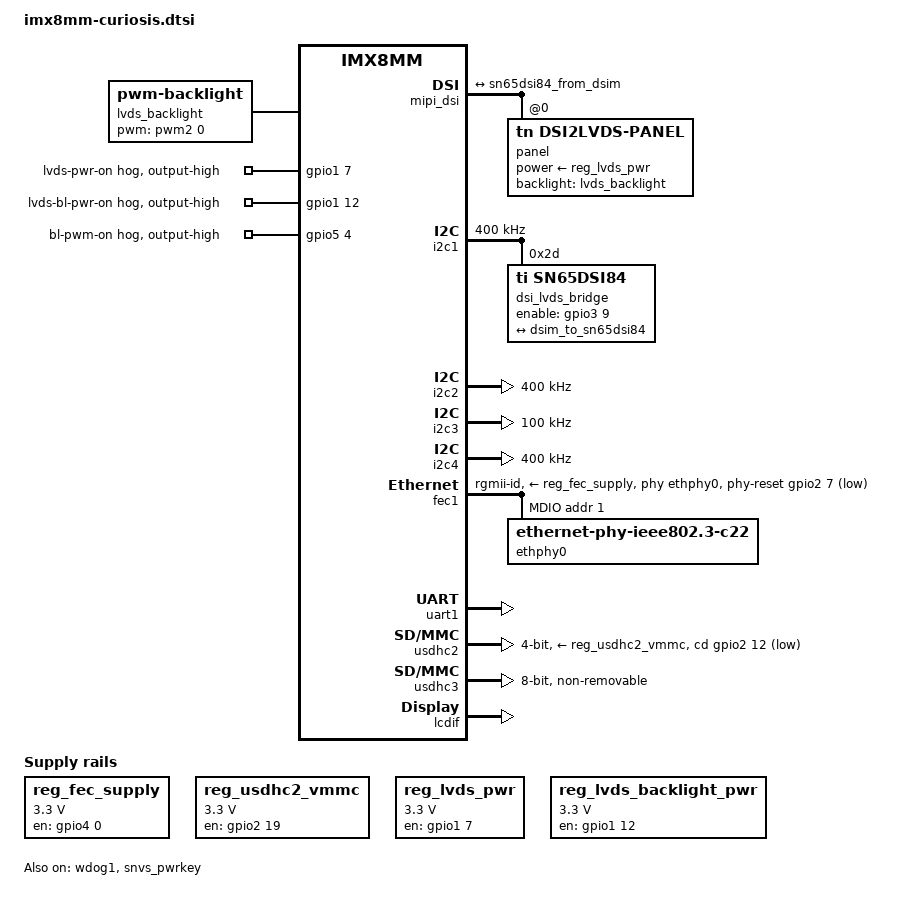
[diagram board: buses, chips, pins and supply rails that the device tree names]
/*
 * Copyright 2020 Technexion Ltd.
 *
 * Author: Richard <richard.hu@technexion.com>
 *
 * This program is free software; you can redistribute it and/or
 * modify it under the terms of the GNU General Public License
 * as published by the Free Software Foundation; either version 2
 * of the License, or (at your option) any later version.
 *
 * This program is distributed in the hope that it will be useful,
 * but WITHOUT ANY WARRANTY; without even the implied warranty of
 * MERCHANTABILITY or FITNESS FOR A PARTICULAR PURPOSE.  See the
 * GNU General Public License for more details.
 */

/dts-v1/;

#include "imx8mm.dtsi"

/ {
	chosen {
		bootargs = "console=ttymxc0,115200 earlycon=ec_imx6q,0x30860000,115200";
		stdout-patch = &uart1;
	};

	regulators {
		compatible = "simple-bus";
		#address-cells = <1>;
		#size-cells = <0>;

		reg_fec_supply: regulator_fecpwr {
			compatible = "regulator-fixed";
			pinctrl-names = "default";
			pinctrl-0 = <&pinctrl_fec_pwr_en>;
			regulator-name = "ENET_PWR_EN";
			regulator-min-microvolt = <3300000>;
			regulator-max-microvolt = <3300000>;
			gpio = <&gpio4 0 GPIO_ACTIVE_HIGH>;
			startup-delay-us = <10000>;
			enable-active-high;
		};

		reg_usdhc2_vmmc: regulator-usdhc2 {
			pinctrl-names = "default";
			pinctrl-0 = <&pinctrl_usdhc2_gpio>;
			compatible = "regulator-fixed";
			regulator-name = "SD_3V3";
			regulator-min-microvolt = <3300000>;
			regulator-max-microvolt = <3300000>;
			gpio = <&gpio2 19 GPIO_ACTIVE_HIGH>;
			off-on-delay = <20000>;
			enable-active-high;
		};
		
		

		reg_lvds_pwr: regulator_lvdspwr {
			pinctrl-names = "default";
			pinctrl-0 = <&pinctrl_lvds0_pwr>;
			compatible = "regulator-fixed";
			regulator-name = "lvds0_vdden";
			regulator-min-microvolt = <3300000>;
			regulator-max-microvolt = <3300000>;
			gpio = <&gpio1 7 GPIO_ACTIVE_HIGH>;
			enable-active-high;
			status = "okay";
		};

		reg_lvds_backlight_pwr: regulator_lvdsblpwr {
			pinctrl-names = "default";
			pinctrl-0 = <&pinctrl_lvds0_backlight_pwr>;
			compatible = "regulator-fixed";
			regulator-name = "lvds0_bl_en";
			regulator-min-microvolt = <3300000>;
			regulator-max-microvolt = <3300000>;
			gpio = <&gpio1 12 GPIO_ACTIVE_HIGH>;
			enable-active-high;
			regulator-always-on;
		};
	};
	
	
	lvds_backlight: lvds_backlight {
		compatible = "pwm-backlight";
		pwms = <&pwm2 0 50000>;
		brightness-levels = <0 36 72 108 144 180 216 255>;
		default-brightness-level = <6>;
		status = "okay";
	};

	dsi_host: dsi-host {
		compatible = "samsung,sec-mipi-dsi";
		status = "okay";
	};
};


&mipi_dsi {
	status = "okay";
	#address-cells = <1>;
	#size-cells = <0>;
	panel@0 {
		reg = <0>;
		compatible = "tn,dsi2lvds-panel";
		backlight = <&lvds_backlight>;
		power-supply = <&reg_lvds_pwr>;

		dsi,flags = <0x0007>;
		dsi,format = <0>;
		dsi,lanes = <4>;
		panel-width-mm  = <217>;
		panel-height-mm = <135>;
		bus-format = <0x100a>;	/* MEDIA_BUS_FMT_RGB888_1X24 */
		bus-flags = <1>;
		refresh-rate = <60>;
		rotate = <0>;
		/* horz-flip; */
		/* vert-flip; */

		panel-timing {
			clock-frequency = <69500000>;
			hactive = <1280>;
			vactive = <800>;
			hfront-porch = <40>;
			hsync-len = <80>;
			hback-porch = <40>;
			vfront-porch = <3>;
			vsync-len = <10>;
			vback-porch = <10>;
			/* flags = DISPLAY_FLAGS_HSYNC_HIGH | DISPLAY_FLAGS_VSYNC_HIGH */
			vsync-active = <1>;
			hsync-active = <1>;
		};
	};
};

&iomuxc {
	pinctrl-names = "default";
	pinctrl-0 = <&pinctrl_hog_1>;

	imx8mm-edm-g {
		pinctrl_hog_1: hoggrp-1 {
			fsl,pins = <
				MX8MM_IOMUXC_GPIO1_IO08_GPIO1_IO8		0x19
			>;
		};

		pinctrl_fec_pwr_en: fec_pwr_en_irqgrp {
			fsl,pins = <
				MX8MM_IOMUXC_SAI1_RXFS_GPIO4_IO0   0x19
			>;
		};

		pinctrl_fec1: fec1grp {
			fsl,pins = <
				MX8MM_IOMUXC_ENET_MDC_ENET1_MDC				0x3
				MX8MM_IOMUXC_ENET_MDIO_ENET1_MDIO			0x3
				MX8MM_IOMUXC_ENET_TD3_ENET1_RGMII_TD3		0x1f
				MX8MM_IOMUXC_ENET_TD2_ENET1_RGMII_TD2		0x1f
				MX8MM_IOMUXC_ENET_TD1_ENET1_RGMII_TD1		0x1f
				MX8MM_IOMUXC_ENET_TD0_ENET1_RGMII_TD0		0x1f
				MX8MM_IOMUXC_ENET_RD3_ENET1_RGMII_RD3		0x91
				MX8MM_IOMUXC_ENET_RD2_ENET1_RGMII_RD2		0x91
				MX8MM_IOMUXC_ENET_RD1_ENET1_RGMII_RD1		0x91
				MX8MM_IOMUXC_ENET_RD0_ENET1_RGMII_RD0		0x91
				MX8MM_IOMUXC_ENET_TXC_ENET1_RGMII_TXC		0x1f
				MX8MM_IOMUXC_ENET_RXC_ENET1_RGMII_RXC		0x91
				MX8MM_IOMUXC_ENET_RX_CTL_ENET1_RGMII_RX_CTL	0x91
				MX8MM_IOMUXC_ENET_TX_CTL_ENET1_RGMII_TX_CTL	0x1f
				MX8MM_IOMUXC_SD1_DATA5_GPIO2_IO7	0x36	/* ENET_nRST */
			>;
		};

		pinctrl_i2c1: i2c1grp {
			fsl,pins = <
				MX8MM_IOMUXC_I2C1_SCL_I2C1_SCL			0x400001c3
				MX8MM_IOMUXC_I2C1_SDA_I2C1_SDA			0x400001c3
			>;
		};

		pinctrl_i2c2: i2c2grp {
			fsl,pins = <
				MX8MM_IOMUXC_I2C2_SCL_I2C2_SCL			0x400001c3
				MX8MM_IOMUXC_I2C2_SDA_I2C2_SDA			0x400001c3
			>;
		};

		pinctrl_i2c3: i2c3grp {
			fsl,pins = <
				MX8MM_IOMUXC_I2C3_SCL_I2C3_SCL			0x400001c3
				MX8MM_IOMUXC_I2C3_SDA_I2C3_SDA			0x400001c3
			>;
		};

		pinctrl_i2c4: i2c4grp {
			fsl,pins = <
				MX8MM_IOMUXC_I2C4_SCL_I2C4_SCL			0x400001c3
				MX8MM_IOMUXC_I2C4_SDA_I2C4_SDA			0x400001c3
			>;
		};

		pinctrl_pmic: pmicirq {
			fsl,pins = <
				MX8MM_IOMUXC_GPIO1_IO03_GPIO1_IO3		0x41
			>;
		};

		pinctrl_uart1: uart1grp {
			fsl,pins = <
				MX8MM_IOMUXC_SAI2_RXFS_UART1_DCE_TX	0x140
				MX8MM_IOMUXC_SAI2_RXC_UART1_DCE_RX	0x140
			>;
		};

		pinctrl_usdhc1: usdhc1grp {
			fsl,pins = <
				MX8MM_IOMUXC_SD1_CLK_USDHC1_CLK		0x190
				MX8MM_IOMUXC_SD1_CMD_USDHC1_CMD		0x1d0
				MX8MM_IOMUXC_SD1_DATA0_USDHC1_DATA0	0x1d0
				MX8MM_IOMUXC_SD1_DATA1_USDHC1_DATA1	0x1d0
				MX8MM_IOMUXC_SD1_DATA2_USDHC1_DATA2	0x1d0
				MX8MM_IOMUXC_SD1_DATA3_USDHC1_DATA3	0x1d0
				MX8MM_IOMUXC_SD1_STROBE_USDHC1_STROBE 0x190
			>;
		};

		pinctrl_usdhc1_100mhz: usdhc1grp100mhz {
			fsl,pins = <
				MX8MM_IOMUXC_SD1_CLK_USDHC1_CLK		0x194
				MX8MM_IOMUXC_SD1_CMD_USDHC1_CMD		0x1d4
				MX8MM_IOMUXC_SD1_DATA0_USDHC1_DATA0	0x1d4
				MX8MM_IOMUXC_SD1_DATA1_USDHC1_DATA1	0x1d4
				MX8MM_IOMUXC_SD1_DATA2_USDHC1_DATA2	0x1d4
				MX8MM_IOMUXC_SD1_DATA3_USDHC1_DATA3	0x1d4
				MX8MM_IOMUXC_SD1_STROBE_USDHC1_STROBE 0x194
			>;
		};

		pinctrl_usdhc1_200mhz: usdhc1grp200mhz {
			fsl,pins = <
				MX8MM_IOMUXC_SD1_CLK_USDHC1_CLK		0x196
				MX8MM_IOMUXC_SD1_CMD_USDHC1_CMD		0x1d6
				MX8MM_IOMUXC_SD1_DATA0_USDHC1_DATA0	0x1d6
				MX8MM_IOMUXC_SD1_DATA1_USDHC1_DATA1	0x1d6
				MX8MM_IOMUXC_SD1_DATA2_USDHC1_DATA2	0x1d6
				MX8MM_IOMUXC_SD1_DATA3_USDHC1_DATA3	0x1d6
				MX8MM_IOMUXC_SD1_STROBE_USDHC1_STROBE 0x196
			>;
		};

		pinctrl_usdhc2_gpio: usdhc2grpgpio {
			fsl,pins = <
				MX8MM_IOMUXC_SD2_CD_B_GPIO2_IO12	0x1c4
				MX8MM_IOMUXC_SD2_RESET_B_GPIO2_IO19	0x41
			>;
		};

		pinctrl_usdhc2: usdhc2grp {
			fsl,pins = <
				MX8MM_IOMUXC_SD2_CLK_USDHC2_CLK		0x190
				MX8MM_IOMUXC_SD2_CMD_USDHC2_CMD		0x1d0
				MX8MM_IOMUXC_SD2_DATA0_USDHC2_DATA0	0x1d0
				MX8MM_IOMUXC_SD2_DATA1_USDHC2_DATA1	0x1d0
				MX8MM_IOMUXC_SD2_DATA2_USDHC2_DATA2	0x1d0
				MX8MM_IOMUXC_SD2_DATA3_USDHC2_DATA3	0x1d0
				MX8MM_IOMUXC_GPIO1_IO04_USDHC2_VSELECT	0x1d0
			>;
		};

		pinctrl_usdhc2_100mhz: usdhc2grp100mhz {
			fsl,pins = <
				MX8MM_IOMUXC_SD2_CLK_USDHC2_CLK		0x194
				MX8MM_IOMUXC_SD2_CMD_USDHC2_CMD		0x1d4
				MX8MM_IOMUXC_SD2_DATA0_USDHC2_DATA0	0x1d4
				MX8MM_IOMUXC_SD2_DATA1_USDHC2_DATA1	0x1d4
				MX8MM_IOMUXC_SD2_DATA2_USDHC2_DATA2	0x1d4
				MX8MM_IOMUXC_SD2_DATA3_USDHC2_DATA3	0x1d4
				MX8MM_IOMUXC_GPIO1_IO04_USDHC2_VSELECT	0x1d0
			>;
		};

		pinctrl_usdhc2_200mhz: usdhc2grp200mhz {
			fsl,pins = <
				MX8MM_IOMUXC_SD2_CLK_USDHC2_CLK		0x196
				MX8MM_IOMUXC_SD2_CMD_USDHC2_CMD		0x1d6
				MX8MM_IOMUXC_SD2_DATA0_USDHC2_DATA0	0x1d6
				MX8MM_IOMUXC_SD2_DATA1_USDHC2_DATA1	0x1d6
				MX8MM_IOMUXC_SD2_DATA2_USDHC2_DATA2	0x1d6
				MX8MM_IOMUXC_SD2_DATA3_USDHC2_DATA3	0x1d6
				MX8MM_IOMUXC_GPIO1_IO04_USDHC2_VSELECT	0x1d0
			>;
		};

		pinctrl_usdhc3: usdhc3grp {
			fsl,pins = <
				MX8MM_IOMUXC_NAND_WE_B_USDHC3_CLK		0x40000190
				MX8MM_IOMUXC_NAND_WP_B_USDHC3_CMD		0x1d0
				MX8MM_IOMUXC_NAND_DATA04_USDHC3_DATA0		0x1d0
				MX8MM_IOMUXC_NAND_DATA05_USDHC3_DATA1		0x1d0
				MX8MM_IOMUXC_NAND_DATA06_USDHC3_DATA2		0x1d0
				MX8MM_IOMUXC_NAND_DATA07_USDHC3_DATA3		0x1d0
				MX8MM_IOMUXC_NAND_RE_B_USDHC3_DATA4		0x1d0
				MX8MM_IOMUXC_NAND_CE2_B_USDHC3_DATA5		0x1d0
				MX8MM_IOMUXC_NAND_CE3_B_USDHC3_DATA6		0x1d0
				MX8MM_IOMUXC_NAND_CLE_USDHC3_DATA7		0x1d0
				MX8MM_IOMUXC_NAND_CE1_B_USDHC3_STROBE 		0x190
			>;
		};

		pinctrl_usdhc3_100mhz: usdhc3grp100mhz {
			fsl,pins = <
				MX8MM_IOMUXC_NAND_WE_B_USDHC3_CLK		0x40000194
				MX8MM_IOMUXC_NAND_WP_B_USDHC3_CMD		0x1d4
				MX8MM_IOMUXC_NAND_DATA04_USDHC3_DATA0		0x1d4
				MX8MM_IOMUXC_NAND_DATA05_USDHC3_DATA1		0x1d4
				MX8MM_IOMUXC_NAND_DATA06_USDHC3_DATA2		0x1d4
				MX8MM_IOMUXC_NAND_DATA07_USDHC3_DATA3		0x1d4
				MX8MM_IOMUXC_NAND_RE_B_USDHC3_DATA4		0x1d4
				MX8MM_IOMUXC_NAND_CE2_B_USDHC3_DATA5		0x1d4
				MX8MM_IOMUXC_NAND_CE3_B_USDHC3_DATA6		0x1d4
				MX8MM_IOMUXC_NAND_CLE_USDHC3_DATA7		0x1d4
				MX8MM_IOMUXC_NAND_CE1_B_USDHC3_STROBE 		0x194
			>;
		};

		pinctrl_usdhc3_200mhz: usdhc3grp200mhz {
			fsl,pins = <
				MX8MM_IOMUXC_NAND_WE_B_USDHC3_CLK		0x40000196
				MX8MM_IOMUXC_NAND_WP_B_USDHC3_CMD		0x1d6
				MX8MM_IOMUXC_NAND_DATA04_USDHC3_DATA0		0x1d6
				MX8MM_IOMUXC_NAND_DATA05_USDHC3_DATA1		0x1d6
				MX8MM_IOMUXC_NAND_DATA06_USDHC3_DATA2		0x1d6
				MX8MM_IOMUXC_NAND_DATA07_USDHC3_DATA3		0x1d6
				MX8MM_IOMUXC_NAND_RE_B_USDHC3_DATA4		0x1d6
				MX8MM_IOMUXC_NAND_CE2_B_USDHC3_DATA5		0x1d6
				MX8MM_IOMUXC_NAND_CE3_B_USDHC3_DATA6		0x1d6
				MX8MM_IOMUXC_NAND_CLE_USDHC3_DATA7		0x1d6
				MX8MM_IOMUXC_NAND_CE1_B_USDHC3_STROBE 		0x196
			>;
		};

		pinctrl_wdog: wdoggrp {
			fsl,pins = <
				MX8MM_IOMUXC_GPIO1_IO02_WDOG1_WDOG_B		0xc6
			>;
		};

		pinctrl_mipi_dsi_en: mipi_dsi_en {
			fsl,pins = <
				MX8MM_IOMUXC_NAND_DATA03_GPIO3_IO9      0x16   /* enable pin of sn65dsi84 */
			>;
		};

		pinctrl_lvds0_backlight_pwr: lvds0_bl_pwrgrp {
			fsl,pins = <
				MX8MM_IOMUXC_GPIO1_IO12_GPIO1_IO12		0x19
			>;
		};

		pinctrl_lvds0_pwr: lvds0_pwrgrp {
			fsl,pins = <
				MX8MM_IOMUXC_GPIO1_IO07_GPIO1_IO7		0x19
			>;
		};

		pinctrl_lvds_bl_pwm: lvds_bl_pwngrp{
			fsl,pins = <
				MX8MM_IOMUXC_SPDIF_RX_GPIO5_IO4			0x19
			>;
		};
	};
};



&i2c1 {
	clock-frequency = <400000>;
	pinctrl-names = "default";
	pinctrl-0 = <&pinctrl_i2c1>;
	status = "okay";
	dsi_lvds_bridge: sn65dsi84@2d {
		reg = <0x2d>;
		compatible = "ti,sn65dsi84";
		#gpio-cells = <2>;
		dsi-lanes = <4>;
		pinctrl-0 = <&pinctrl_mipi_dsi_en>;
		enable-gpios = <&gpio3 9 GPIO_ACTIVE_HIGH>;

		status = "okay";

		port@2 {
			sn65dsi84_from_dsim: endpoint {
				remote-endpoint = <&dsim_to_sn65dsi84>;
			};
		};
		
		sn65dsi84,addresses = <0x09 0x0A 0x0B 0x0D
							0x10 0x11 0x12 0x13
							0x18 0x19 0x1A 0x1B
							0x20 0x21 0x22 0x23
							0x24 0x25 0x26 0x27
							0x28 0x29 0x2A 0x2B
							0x2C 0x2D 0x2E 0x2F
							0x30 0x31 0x32 0x33
							0x34 0x35 0x36 0x37
							0x38 0x39 0x3A 0x3B
							0x3C 0x3D 0x3E 0x0D>;

		sn65dsi84,values = </* reset and clock registers */
							0x00 0x05 0x10 0x00
							/* DSI registers */
							0x26 0x00 0x2a 0x00
							/* LVDS registers */
							0x78 0x00 0x03 0x00

							/* video registers */
							/* cha-al-len-l, cha-al-len-h, chb-al-len-l, chb-al-len-h */
							0x00 0x05 0x00 0x00
							/* cha-v-ds-l, cha-v-ds-h, chb-v-ds-l, chb-v-ds-h */
							0x00 0x00 0x00 0x00
							/* cha-sdl, cha-sdh, chb-sdl, chb-sdh */
							0x21 0x00 0x00 0x00
							/* cha-hs-pwl, cha-hs-pwh, chb-hs-pwl, chb-hs-pwh */
							0x50 0x00 0x00 0x00
							/* cha-vs-pwl, cha-vs-pwh, chb-vs-pwl, chb-vs-pwh */
							0x0a 0x00 0x00 0x00
							/*cha-hbp, chb-hbp, cha-vbp, chb-vbp*/
							0x28 0x00 0x00 0x00
							/* cha-hfp, chb-hfp, cha-vfp, chb-vfp*/
							0x00 0x00 0x00 0x00

							0x00 0x00 0x00 0x01>;

	};

};

&i2c2 {
	clock-frequency = <400000>;
	pinctrl-names = "default";
	pinctrl-0 = <&pinctrl_i2c2>;
	status = "okay";
};

&i2c3 {
	clock-frequency = <100000>;
	pinctrl-names = "default";
	pinctrl-0 = <&pinctrl_i2c3>;
	status = "okay";
};

&i2c4 {
	clock-frequency = <400000>;
	pinctrl-names = "default";
	pinctrl-0 = <&pinctrl_i2c4>;
	status = "okay";
};

&fec1 {
	pinctrl-names = "default";
	pinctrl-0 = <&pinctrl_fec1>;
	phy-mode = "rgmii-id";
	phy-handle = <&ethphy0>;
	phy-reset-gpios = <&gpio2 7 GPIO_ACTIVE_LOW>;
	phy-reset-duration = <35>;
	phy-reset-post-delay = <75>;
	phy-supply = <&reg_fec_supply>;
	fsl,magic-packet;
	status = "okay";

	mdio {
		#address-cells = <1>;
		#size-cells = <0>;

		ethphy0: ethernet-phy@0 {
			compatible = "ethernet-phy-ieee802.3-c22";
			reg = <1>;
			at803x,led-act-blind-workaround;
			at803x,eee-disabled;
		};
	};
};

&uart1 {  /* A53 console, UART_A */
	pinctrl-names = "default";
	pinctrl-0 = <&pinctrl_uart1>;
	status = "okay";
};

/* WIFI SDIO */
&usdhc1 {
	pinctrl-names = "default", "state_100mhz", "state_200mhz";
	pinctrl-0 = <&pinctrl_usdhc1>;
	pinctrl-1 = <&pinctrl_usdhc1_100mhz>;
	pinctrl-2 = <&pinctrl_usdhc1_200mhz>;
	bus-width = <4>;
	non-removable;
	status = "disabled";
};

/* SD card on baseboard */
&usdhc2 {
	pinctrl-names = "default", "state_100mhz", "state_200mhz";
	pinctrl-0 = <&pinctrl_usdhc2>, <&pinctrl_usdhc2_gpio>;
	pinctrl-1 = <&pinctrl_usdhc2_100mhz>, <&pinctrl_usdhc2_gpio>;
	pinctrl-2 = <&pinctrl_usdhc2_200mhz>, <&pinctrl_usdhc2_gpio>;
	cd-gpios = <&gpio2 12 GPIO_ACTIVE_LOW>;
	vmmc-supply = <&reg_usdhc2_vmmc>;
	bus-width = <4>;
	status = "okay";
};

/* eMMC on SOM */
&usdhc3 {
	pinctrl-names = "default", "state_100mhz", "state_200mhz";
	pinctrl-0 = <&pinctrl_usdhc3>;
	pinctrl-1 = <&pinctrl_usdhc3_100mhz>;
	pinctrl-2 = <&pinctrl_usdhc3_200mhz>;
	bus-width = <8>;
	non-removable;
	status = "okay";
};

&wdog1 {
	pinctrl-names = "default";
	pinctrl-0 = <&pinctrl_wdog>;
	fsl,ext-reset-output;
	status = "okay";
};
/*
&A53_0 {
	cpu-supply = <&buck2_reg>;
};
*/

&gpio1 {
	lvds-pwr-on {
		pinctrl-names = "default";
		pinctrl-0 = <&pinctrl_lvds0_pwr>;
		gpio-hog;
		gpios = <7 GPIO_ACTIVE_HIGH>;
		output-high;
	};

	lvds-bl-pwr-on {
		pinctrl-names = "default";
		pinctrl-0 = <&pinctrl_lvds0_backlight_pwr>;
		gpio-hog;
		gpios = <12 GPIO_ACTIVE_HIGH>;
		output-high;
	};
};

&gpio5 {
	bl-pwm-on {
		pinctrl-names = "default";
		pinctrl-0 = <&pinctrl_lvds_bl_pwm>;
		gpio-hog;
		gpios = <4 GPIO_ACTIVE_HIGH>;
		output-high;
	};
};

&mipi_dsi {
	/delete-property/ assigned-clocks;
	/delete-property/ assigned-clock-parents;
	/delete-property/ assigned-clock-rates;
	status = "okay";
	#address-cells = <1>;
	#size-cells = <0>;

	port@2{
		dsim_to_sn65dsi84: endpoint {
			remote-endpoint = <&sn65dsi84_from_dsim>;
		};
	};
};

&snvs_pwrkey {
	status = "okay";
};

&lcdif {
	enable_polarity_low;
	/delete-property/ assigned-clocks;
	/delete-property/ assigned-clock-parents;
	/delete-property/ assigned-clock-rates;
	display = <&display0>;
	status = "okay";

	display0: display@0 {
		bits-per-pixel = <24>;
		bus-width = <24>;
	};

};
